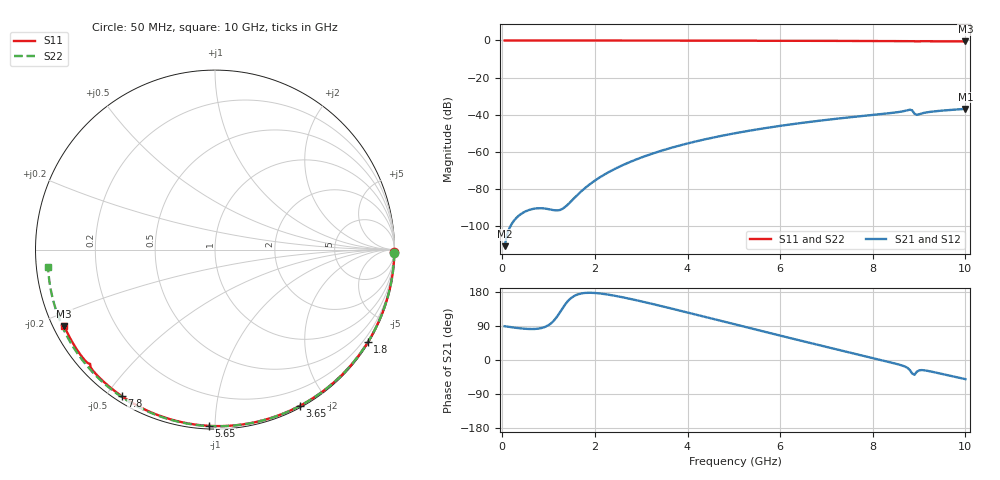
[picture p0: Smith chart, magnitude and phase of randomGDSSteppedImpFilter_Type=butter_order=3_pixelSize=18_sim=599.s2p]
! freq	dB(S11)	phase(S11)	dB(S12)	phase(S12)
!  dB(S21)	phase(S21)	dB(S22)	phase(S22)
!S-par simulation data
#  GHz  S  DB  R 50
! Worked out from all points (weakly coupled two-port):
!   200 points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, 50 MHz to 10 GHz, reference 50 ohm
!   highest |S21| = -36.84 dB at 10 GHz (marker M1); lowest = -110.7 dB at 50 MHz (marker M2)
!   lowest |S11| = -0.5 dB at 10 GHz (marker M3), VSWR 33.45, Z = 1.58 - j12 ohm
!   |S11| at or under -10 dB: nowhere
!   |S22| runs from -0.6 to 0.0 dB; largest |S21 - S12| = 0
!   S11 on the Smith chart (normalised r, x): 50 MHz: open; 1.8 GHz: 0.03, -3.58; 3.65 GHz: 0.02, -1.68; 5.65 GHz: 0.02, -0.97; 7.8 GHz: 0.02, -0.55; 10 GHz: 0.03, -0.24
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0.05  -0.01 -0.9  -110.68 89.1  -110.68 89.1  -0.01 -1.0
0.85  -0.02 -14.9  -90.28 84.5  -90.28 84.5  -0.02 -16.6
1.75  -0.04 -30.3  -80.19 176.4  -80.19 176.4  -0.04 -33.9
1.8  -0.04 -31.2  -79.14 177.0  -79.14 177.0  -0.04 -34.8
2.1  -0.05 -36.2  -73.75 175.7  -73.75 175.7  -0.05 -40.5
2.45  -0.05 -42.1  -68.87 169.1  -68.87 169.1  -0.06 -47.0
2.9  -0.06 -49.5  -63.95 157.6  -63.95 157.6  -0.07 -55.3
3.4  -0.08 -57.6  -59.61 143.3  -59.61 143.3  -0.08 -64.2
3.65  -0.08 -61.6  -57.75 135.9  -57.75 135.9  -0.09 -68.7
4.35  -0.10 -72.5  -53.35 114.7  -53.35 114.7  -0.11 -80.8
5.05  -0.13 -83.2  -49.81 93.3  -49.81 93.3  -0.14 -92.6
5.65  -0.15 -92.0  -47.27 75.0  -47.27 75.0  -0.17 -102.5
6.7  -0.21 -107.1  -43.63 43.4  -43.63 43.4  -0.23 -119.5
7.8  -0.29 -122.5  -40.58 11.0  -40.58 11.0  -0.32 -137.0
8.35  -0.33 -130.2  -39.16 -5.2  -39.16 -5.2  -0.37 -145.9
8.6  -0.36 -133.7  -38.35 -13.3  -38.35 -13.3  -0.40 -150.0
8.8  -0.42 -136.8  -37.27 -26.3  -37.27 -26.3  -0.42 -153.4
8.85  -0.49 -137.4  -37.56 -35.6  -37.56 -35.6  -0.43 -154.2
8.9  -0.51 -137.5  -39.39 -39.0  -39.39 -39.0  -0.44 -155.0
8.95  -0.46 -138.0  -40.06 -31.1  -40.06 -31.1  -0.45 -155.8
9.25  -0.44 -142.4  -38.38 -30.3  -38.38 -30.3  -0.48 -160.8
10  -0.52 -153.1  -36.84 -50.5  -36.84 -50.5  -0.58 -173.9
